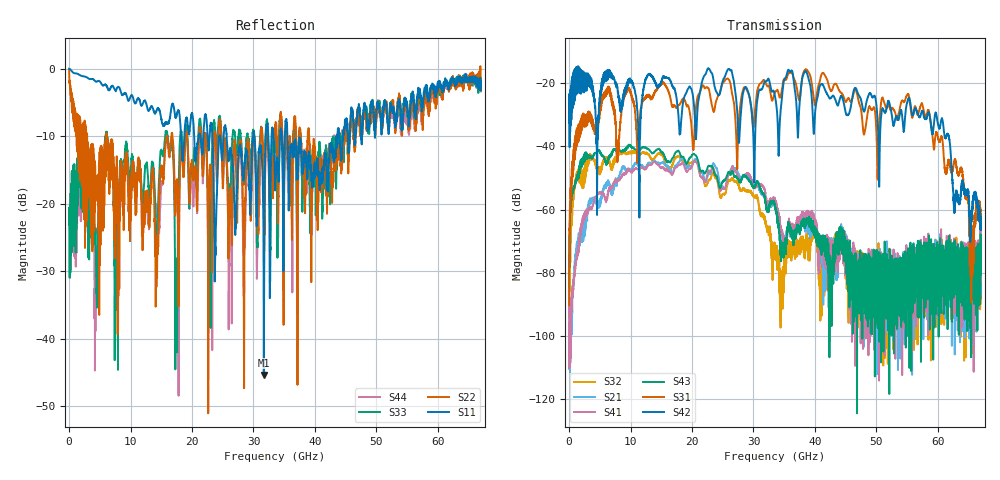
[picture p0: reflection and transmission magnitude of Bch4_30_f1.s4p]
!Agilent Technologies,N5247A,US51170199,A.09.90.13
!Agilent N5247A: A.09.90.13
!Date: Thursday, October 18, 2018 13:02:04
!Correction: S11(Full 4 Port(1,2,3,4))
!S12(Full 4 Port(1,2,3,4))
!S13(Full 4 Port(1,2,3,4))
!S14(Full 4 Port(1,2,3,4))
!S21(Full 4 Port(1,2,3,4))
!S22(Full 4 Port(1,2,3,4))
!S23(Full 4 Port(1,2,3,4))
!S24(Full 4 Port(1,2,3,4))
!S31(Full 4 Port(1,2,3,4))
!S32(Full 4 Port(1,2,3,4))
!S33(Full 4 Port(1,2,3,4))
!S34(Full 4 Port(1,2,3,4))
!S41(Full 4 Port(1,2,3,4))
!S42(Full 4 Port(1,2,3,4))
!S43(Full 4 Port(1,2,3,4))
!S44(Full 4 Port(1,2,3,4))
!S4P File: Measurements: <S11,S12,S13,S14>,
!<S21,S22,S23,S24>,
!<S31,S32,S33,S34>,
!<S41,S42,S43,S44>:
# Hz S  dB  R 50
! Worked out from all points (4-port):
!   6701 points, 10 MHz to 67 GHz, reference 50 ohm
!   strongest paths, dB at 10 MHz, 16.76 GHz, 33.51 GHz, 50.25 GHz, 67 GHz:
!     S42: -32.4, -20.6, -24.0, -33.6, -62.4
!     S31: -90.2, -27.1, -22.8, -46.6, -63.0
!     S43: -84.7, -43.9, -58.8, -91.2, -74.8
!     S41: -82.5, -48.8, -57.0, -81.3, -74.8
!     S21: -88.0, -48.6, -59.1, -79.8, -86.7
!     S32: -87.4, -45.9, -73.5, -79.3, -72.1
!   lowest |S11| = -45.4 dB at 31.69 GHz (marker M1), VSWR 1.01, Z = 49.5 + j0.23 ohm
!   |S11| at or under -10 dB: 25.64 GHz to 29.94 GHz (4.298 GHz wide, 15.5 % of centre); 30.14 GHz to 32 GHz (1.866 GHz wide, 6.01 % of centre); 35.54 GHz to 43.49 GHz (7.951 GHz wide, 20.1 % of centre)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
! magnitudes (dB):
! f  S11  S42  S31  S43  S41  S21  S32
! 10 MHz  0.0  -32.4  -90.2  -84.7  -82.5  -88.0  -87.4
! 1.25 GHz  -0.7  -14.8  -34.4  -50.0  -74.9  -70.7  -48.2
! 6.239 GHz  -2.8  -15.8  -21.4  -45.2  -56.2  -51.0  -43.4
! 11.4 GHz  -4.5  -51.3  -34.3  -41.2  -47.2  -46.3  -42.6
! 31.69 GHz  -45.4  -20.2  -18.9  -55.1  -53.0  -55.6  -62.5
! 59.72 GHz  -3.8  -29.7  -35.5  -88.8  -86.2  -73.9  -74.7
! 67 GHz  -3.1  -62.4  -63.0  -74.8  -74.8  -86.7  -72.1
